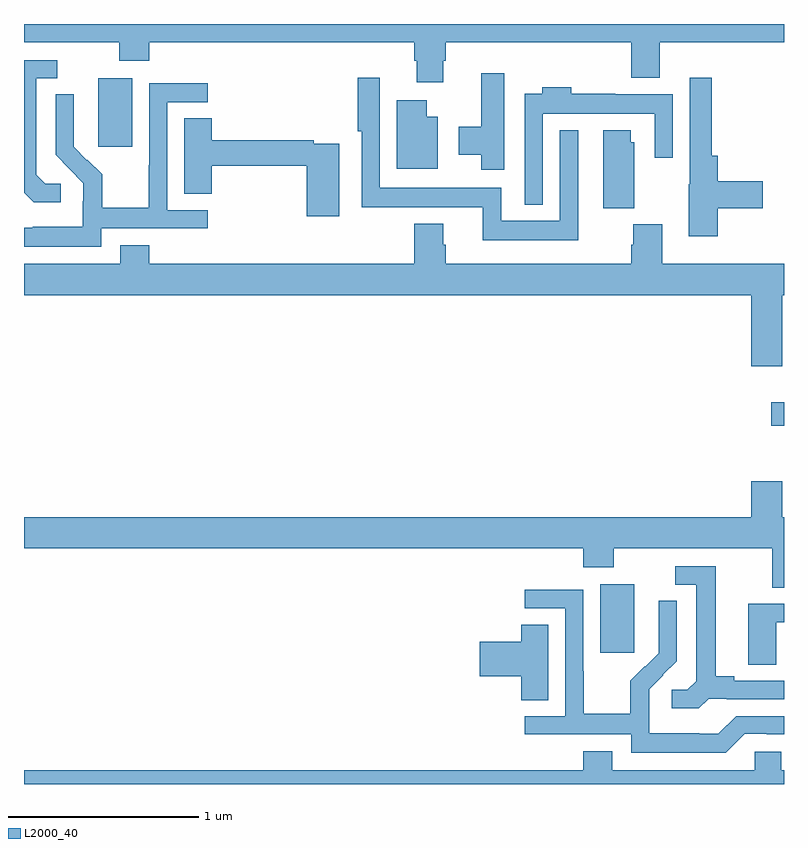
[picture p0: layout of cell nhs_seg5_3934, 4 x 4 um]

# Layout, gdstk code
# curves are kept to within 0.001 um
import gdstk
lib = gdstk.Library(unit=1e-6, precision=1e-09)
def R(c, l, rs):  # rectangles x0, y0, x1, y1
    for r in rs: c.add(gdstk.rectangle(r[:2], r[2:], *l))
def P(c, l, *ps):  # polygons
    for p in ps: c.add(gdstk.Polygon(p, *l))
L2000_40 = (2000, 40)

nhs_seg5_3934 = lib.new_cell('nhs_seg5_3934')
R(nhs_seg5_3934, L2000_40, [(344.033,909.489,344.212,909.85), (344.934,910.685,345,910.807), (341.39,912.153,341.569,912.514)])
P(nhs_seg5_3934, L2000_40, [(343.207,912.606),(343.22,912.606),(343.22,912.704),(344.195,912.704),(344.195,912.515),(344.347,912.515),(344.347,912.704),(345,912.704),(345,912.799),(341,912.799),(341,912.704),(341.5,912.704),(341.5,912.605),(341.66,912.605),(341.66,912.704),(343.055,912.704),(343.055,912.606),(343.067,912.606),(343.067,912.492),(343.207,912.492)],
  [(341.194,911.958),(341.112,911.958),(341.065,912.005),(341.065,912.513),(341.176,912.513),(341.176,912.609),(341,912.609),(341,911.911),(341.05,911.861),(341.194,911.861)],
  [(343.528,912.541),(343.406,912.541),(343.406,912.258),(343.289,912.258),(343.289,912.11),(343.406,912.11),(343.406,912.033),(343.528,912.033)],
  [(344.651,911.83),(344.887,911.83),(344.887,911.972),(344.651,911.972),(344.651,912.106),(344.621,912.106),(344.621,912.517),(344.505,912.517),(344.505,911.955),(344.498,911.955),(344.498,911.682),(344.651,911.682)],
  [(343.918,912.241),(343.821,912.241),(343.821,911.764),(343.512,911.764),(343.512,911.938),(342.873,911.938),(342.873,912.517),(342.757,912.517),(342.757,912.235),(342.777,912.235),(342.777,911.834),(343.415,911.834),(343.415,911.66),(343.918,911.66)],
  [(341.406,911.724),(341.968,911.724),(341.968,911.82),(341.754,911.82),(341.754,912.387),(341.968,912.387),(341.968,912.486),(341.658,912.486),(341.658,912.056),(341.656,912.056),(341.656,911.833),(341.411,911.833),(341.411,912.007),(341.334,912.084),(341.331,912.081),(341.261,912.152),(341.262,912.428),(341.166,912.428),(341.166,912.11),(341.312,911.962),(341.312,911.865),(341.31,911.865),(341.31,911.731),(341.047,911.731),(341.047,911.727),(341,911.727),(341,911.627),(341.406,911.627)],
  [(343.731,912.326),(344.319,912.326),(344.319,912.096),(344.415,912.096),(344.415,912.43),(344.111,912.43),(344.111,912.433),(343.88,912.433),(343.88,912.466),(343.727,912.466),(343.727,912.433),(343.635,912.433),(343.635,911.849),(343.731,911.849)],
  [(343.177,912.31),(343.12,912.31),(343.12,912.397),(342.962,912.397),(342.962,912.038),(343.177,912.038)],
  [(342.658,912.168),(342.524,912.168),(342.524,912.188),(341.987,912.188),(341.987,912.302),(341.843,912.302),(341.843,911.905),(341.987,911.905),(341.987,912.052),(342.488,912.052),(342.488,911.787),(342.658,911.787)],
  [(344.212,912.177),(344.194,912.177),(344.194,912.241),(344.048,912.241),(344.048,911.83),(344.212,911.83)],
  [(344.992,911.372),(345,911.372),(345,911.536),(344.36,911.536),(344.36,911.745),(344.207,911.745),(344.207,911.636),(344.195,911.636),(344.195,911.536),(343.22,911.536),(343.22,911.637),(343.207,911.637),(343.207,911.749),(343.055,911.749),(343.055,911.536),(341.66,911.536),(341.66,911.635),(341.507,911.635),(341.507,911.536),(341,911.536),(341,911.372),(344.828,911.372),(344.828,910.998),(344.992,910.998)],
  [(345,910.204),(344.992,910.204),(344.992,910.393),(344.828,910.393),(344.828,910.204),(341,910.204),(341,910.04),(343.943,910.04),(343.943,909.941),(344.103,909.941),(344.103,910.04),(344.939,910.04),(344.939,909.832),(345,909.832)],
  [(344.604,909.249),(344.698,909.249),(344.698,909.246),(345,909.246),(345,909.342),(344.737,909.342),(344.737,909.365),(344.641,909.365),(344.641,909.945),(344.427,909.945),(344.427,909.849),(344.537,909.849),(344.537,909.341),(344.49,909.294),(344.409,909.294),(344.409,909.197),(344.552,909.197)],
  [(344.793,909.063),(344.909,909.063),(344.909,909.06),(345,909.06),(345,909.156),(344.748,909.156),(344.655,909.063),(344.555,909.063),(344.555,909.067),(344.292,909.067),(344.292,909.201),(344.29,909.201),(344.29,909.298),(344.436,909.446),(344.436,909.764),(344.34,909.764),(344.34,909.61),(344.342,909.61),(344.342,909.488),(344.271,909.417),(344.268,909.42),(344.191,909.343),(344.191,909.169),(343.947,909.169),(343.947,909.392),(343.944,909.392),(343.944,909.822),(343.635,909.822),(343.635,909.723),(343.848,909.723),(343.848,909.156),(343.635,909.156),(343.635,909.06),(344.196,909.06),(344.196,908.963),(344.693,908.963)],
  [(344.958,909.651),(345,909.651),(345,909.747),(344.813,909.747),(344.813,909.427),(344.958,909.427)],
  [(343.759,909.638),(343.616,909.638),(343.616,909.548),(343.398,909.548),(343.398,909.365),(343.616,909.365),(343.616,909.241),(343.759,909.241)],
  [(345,908.872),(344.985,908.872),(344.985,908.97),(344.847,908.97),(344.847,908.872),(344.095,908.872),(344.095,908.971),(343.943,908.971),(343.943,908.872),(341,908.872),(341,908.799),(345,908.799)])

lib.write_gds('nhs_seg5_3934.gds')
